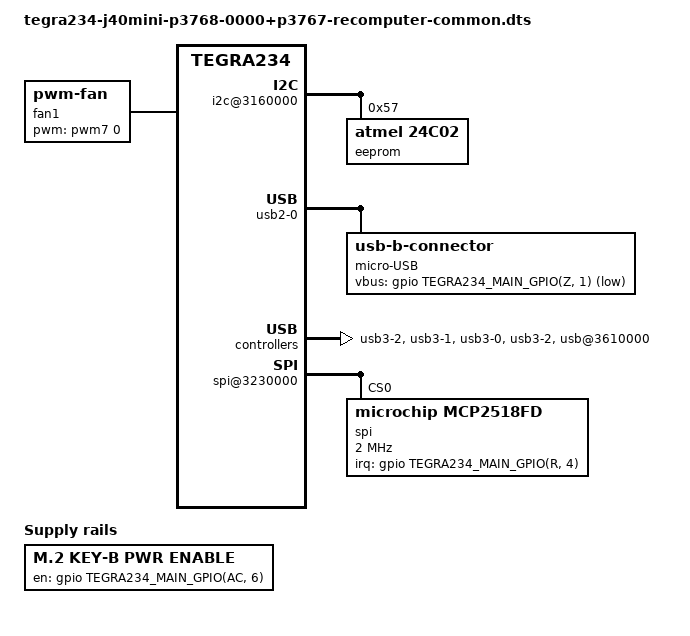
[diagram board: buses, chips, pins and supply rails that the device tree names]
// SPDX-License-Identifier: GPL-2.0-only
// SPDX-FileCopyrightText: Copyright (c) 2023, NVIDIA CORPORATION & AFFILIATES.  All rights reserved.

/dts-v1/;

#include "tegra234-j40mini-p3768-0000+p3767-0000.dts"
#include "tegra234-p3768-0000+p3767-xxxx-nv-common.dtsi"
#include <dt-bindings/tegra234-p3767-0000-common.h>

/ {
        bus@0 {
                i2c@3160000 {
                        #address-cells = <1>;
                        #size-cells = <0>;

                        eeprom@57 {
                                compatible = "atmel,24c02";
                                reg = <0x57>;
                                /*16 bit*/
                                address-width = <0x08>;
                                /*32768 bytes */
                                size = <0x100>;
				/delete-property/ read-only;
                        };
                };


                padctl@3520000 {
                        ports {
                                usb2-0 {
                                       connector {
                                               compatible = "usb-b-connector", "gpio-usb-b-connector";
                                               label = "micro-USB";
                                               type = "micro";
                                               vbus-gpio = <&gpio TEGRA234_MAIN_GPIO(Z, 1) GPIO_ACTIVE_LOW>;
                                       };
                                };

				usb3-2 {
					nvidia,usb2-companion = <2>;
					status = "okay";
				};

				usb3-1 {
					nvidia,usb2-companion = <1>;
					status = "okay";
				};

				usb3-0 {
					nvidia,usb2-companion = <2>;
					status = "okay";
				};
                        };

			pads {
				usb3 {
					lanes {
						usb3-2 {
							nvidia,function = "xusb";
							status = "okay";
						};
					};
				};
			};
                };

                usb@3610000 {
                        status = "okay";

                        phys = <&{/bus@0/padctl@3520000/pads/usb2/lanes/usb2-0}>,
                               <&{/bus@0/padctl@3520000/pads/usb2/lanes/usb2-1}>,
                               <&{/bus@0/padctl@3520000/pads/usb2/lanes/usb2-2}>,
                               <&{/bus@0/padctl@3520000/pads/usb3/lanes/usb3-0}>,
                               <&{/bus@0/padctl@3520000/pads/usb3/lanes/usb3-1}>,
                               <&{/bus@0/padctl@3520000/pads/usb3/lanes/usb3-2}>;
                        phy-names = "usb2-0", "usb2-1", "usb2-2", "usb3-0",
                                    "usb3-1", "usb3-2";
                };

                can_clock: can_clock {
                        compatible = "fixed-clock";
                        #clock-cells = <0>;
                        clock-frequency = <40000000>;
                        clock-accuracy = <100>;
                };

		spi@3230000 {
        	        #address-cells = <0x01>;
        	        #size-cells = <0x00>;

        	        status = "okay";

			spi@0 {
				compatible = "microchip,mcp2518fd";
				reg = <0x0>;
				spi-max-frequency = <2000000>;
				interrupt-parent = <&gpio>;
				interrupts = <TEGRA234_MAIN_GPIO(R, 4) IRQ_TYPE_LEVEL_LOW>;
				clocks = <&can_clock>;
				nvidia,enable-hw-based-cs;
				controller-data {
					nvidia,enable-hw-based-cs;
					nvidia,rx-clk-tap-delay = <0x10>;
					nvidia,tx-clk-tap-delay = <0x0>;
				};
			};
		};

		m2_key_b_enable {
			compatible = "regulator-fixed";
			regulator-name = "M.2 KEY-B PWR ENABLE";
			gpios = <&gpio TEGRA234_MAIN_GPIO(AC, 6) GPIO_ACTIVE_HIGH>;
			enable-active-high;
			regulator-always-on;
		};

		pinmux@2430000 {
		        pinctrl-names = "default";
		        pinctrl-0 = <&jetson_io_pinmux>;
		
		        jetson_io_pinmux: exp-header-pinmux {
                                hdr40-pin13 {
                                        nvidia,pins = HDR40_PIN13;
                                        nvidia,function = "spi3";
                                        nvidia,pull = <TEGRA_PIN_PULL_DOWN>;
                                        nvidia,tristate = <TEGRA_PIN_DISABLE>;
                                        nvidia,enable-input = <TEGRA_PIN_DISABLE>;
                                };
                                hdr40-pin37 {
                                        nvidia,pins = HDR40_PIN37;
                                        nvidia,function = "spi3";
                                        nvidia,pull = <TEGRA_PIN_PULL_DOWN>;
                                        nvidia,tristate = <TEGRA_PIN_DISABLE>;
                                        nvidia,enable-input = <TEGRA_PIN_ENABLE>;
                                };
                                hdr40-pin22 {
                                        nvidia,pins = HDR40_PIN22;
                                        nvidia,function = "spi3";
                                        nvidia,pull = <TEGRA_PIN_PULL_DOWN>;
                                        nvidia,tristate = <TEGRA_PIN_DISABLE>;
                                        nvidia,enable-input = <TEGRA_PIN_ENABLE>;
                                };
                                hdr40-pin16 {
                                        nvidia,pins = HDR40_PIN16;
                                        nvidia,function = "spi3";
                                        nvidia,pull = <TEGRA_PIN_PULL_UP>;
                                        nvidia,tristate = <TEGRA_PIN_DISABLE>;
                                        nvidia,enable-input = <TEGRA_PIN_DISABLE>;
                                };

                                hdr40-pin18 {
                                        nvidia,pins = HDR40_PIN18;
                                        nvidia,function = "spi3";
                                        nvidia,pull = <TEGRA_PIN_PULL_UP>;
                                        nvidia,tristate = <TEGRA_PIN_DISABLE>;
                                        nvidia,enable-input = <TEGRA_PIN_DISABLE>;
                                };

				hdr40-pin36 {
					nvidia,pins = HDR40_PIN36;
					nvidia,function = "rsvd1";
					nvidia,pull = <TEGRA_PIN_PULL_DOWN>;
					nvidia,tristate = <TEGRA_PIN_DISABLE>;
					nvidia,enable-input = <TEGRA_PIN_DISABLE>;
				};

		                hdr40-pin19 {
		                        nvidia,pins = HDR40_PIN19;
		                        nvidia,function = HDR40_SPI;
		                        nvidia,pull = <TEGRA_PIN_PULL_DOWN>;
		                        nvidia,tristate = <TEGRA_PIN_DISABLE>;
		                        nvidia,enable-input = <TEGRA_PIN_DISABLE>;
		                };
		                hdr40-pin21 {
		                        nvidia,pins = HDR40_PIN21;
		                        nvidia,function = HDR40_SPI;
		                        nvidia,pull = <TEGRA_PIN_PULL_DOWN>;
		                        nvidia,tristate = <TEGRA_PIN_DISABLE>;
		                        nvidia,enable-input = <TEGRA_PIN_ENABLE>;
		                };
		                hdr40-pin23 {
		                        nvidia,pins = HDR40_PIN23;
		                        nvidia,function = HDR40_SPI;
		                        nvidia,pull = <TEGRA_PIN_PULL_DOWN>;
		                        nvidia,tristate = <TEGRA_PIN_DISABLE>;
		                        nvidia,enable-input = <TEGRA_PIN_ENABLE>;
		                };
		                hdr40-pin24 {
		                        nvidia,pins = HDR40_PIN24;
		                        nvidia,function = HDR40_SPI;
		                        nvidia,pull = <TEGRA_PIN_PULL_UP>;
		                        nvidia,tristate = <TEGRA_PIN_DISABLE>;
		                        nvidia,enable-input = <TEGRA_PIN_DISABLE>;
		                };
		
		                hdr40-pin26 {
		                        nvidia,pins = HDR40_PIN26;
		                        nvidia,function = "gp";
		                        nvidia,pull = <TEGRA_PIN_PULL_UP>;
		                        nvidia,tristate = <TEGRA_PIN_DISABLE>;
		                        nvidia,enable-input = <TEGRA_PIN_DISABLE>;
		                };
		        };
		};
        };

        fan1: pwm-fan1 {
		compatible = "pwm-fan";
		pwms = <&pwm7 0 45334>;
		cooling-levels = <0 88 128 192 255>;
		#cooling-cells = <2>;
        };

        thermal-zones {
                tj-thermal {
			trips {
                                tj_trip_active3: active-3 {
                                        temperature = <45000>;
                                        hysteresis = <4000>;
                                        type = "active";
                                };
                                tj_trip_active4: active-4 {
                                        temperature = <55000>;
                                        hysteresis = <4000>;
                                        type = "active";
                                };
                                tj_trip_active5: active-5 {
                                        temperature = <65000>;
                                        hysteresis = <4000>;
                                        type = "active";
                                };
			};
                        cooling-maps {
                                map-active-3 {
					trip = <&tj_trip_active0>;
                                        cooling-device = <&fan1 0 1>;
                                };

                                map-active-4 {
					trip = <&tj_trip_active3>;
                                        cooling-device = <&fan1 1 2>;
                                };

                                map-active-5 {
					trip = <&tj_trip_active4>;
                                        cooling-device = <&fan1 2 3>;
                                };

                                map-active-6 {
					trip = <&tj_trip_active5>;
                                        cooling-device = <&fan1 3 4>;
                                };
                        };
                };
        };
};


